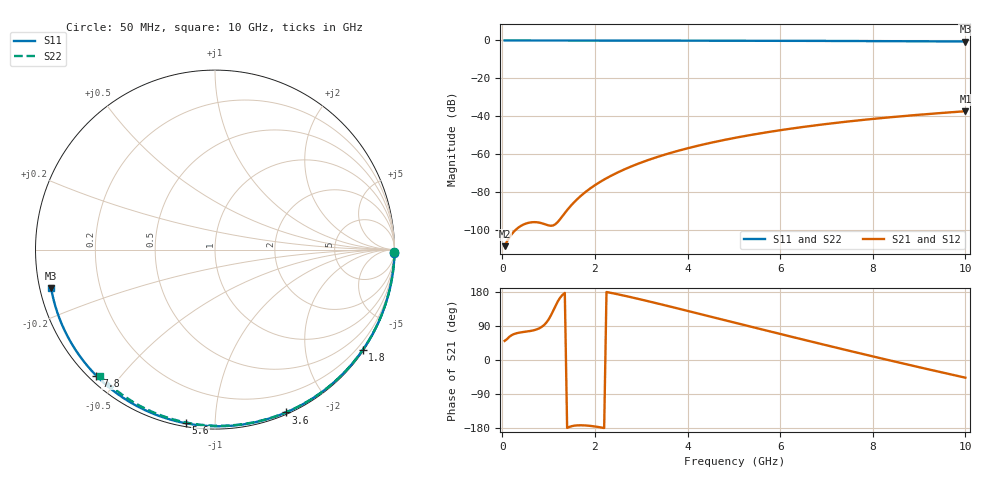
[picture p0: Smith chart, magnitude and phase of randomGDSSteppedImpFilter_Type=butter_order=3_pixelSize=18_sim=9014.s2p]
! freq	dB(S11)	phase(S11)	dB(S12)	phase(S12)
!  dB(S21)	phase(S21)	dB(S22)	phase(S22)
!S-par simulation data
#  GHz  S  DB  R 50
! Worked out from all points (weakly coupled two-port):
!   200 points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, 50 MHz to 10 GHz, reference 50 ohm
!   highest |S21| = -37.26 dB at 10 GHz (marker M1); lowest = -108.3 dB at 50 MHz (marker M2)
!   lowest |S11| = -0.6 dB at 10 GHz (marker M3), VSWR 31.23, Z = 1.62 - j5.76 ohm
!   |S11| at or under -10 dB: nowhere
!   |S22| runs from -0.4 to 0.0 dB; largest |S21 - S12| = 0
!   S11 on the Smith chart (normalised r, x): 50 MHz: open; 1.8 GHz: 0.03, -3.25; 3.6 GHz: 0.02, -1.53; 5.6 GHz: 0.02, -0.85; 7.8 GHz: 0.02, -0.43; 10 GHz: 0.03, -0.12
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0.05  -0.00 -1.0  -108.31 50.4  -108.31 50.4  -0.00 -0.8
0.45  -0.01 -8.7  -97.01 73.8  -97.01 73.8  -0.01 -6.9
0.85  -0.02 -16.3  -96.21 87.2  -96.21 87.2  -0.02 -12.9
1.3  -0.03 -24.8  -92.45 171.8  -92.45 171.8  -0.02 -19.7
1.75  -0.04 -33.2  -80.70 -172.4  -80.70 -172.4  -0.03 -26.4
1.8  -0.04 -34.2  -79.72 -172.7  -79.72 -172.7  -0.03 -27.1
2.1  -0.05 -39.7  -74.66 -177.3  -74.66 -177.3  -0.04 -31.6
2.3  -0.06 -43.4  -71.87 178.3  -71.87 178.3  -0.04 -34.5
2.5  -0.06 -47.0  -69.41 173.3  -69.41 173.3  -0.05 -37.4
2.9  -0.07 -54.2  -65.21 162.4  -65.21 162.4  -0.06 -43.2
3.4  -0.08 -63.0  -60.94 147.7  -60.94 147.7  -0.07 -50.2
3.6  -0.09 -66.4  -59.45 141.8  -59.45 141.8  -0.07 -53.0
4.3  -0.11 -78.3  -54.99 120.5  -54.99 120.5  -0.09 -62.7
5.05  -0.14 -90.6  -51.16 97.6  -51.16 97.6  -0.11 -72.7
5.6  -0.16 -99.4  -48.79 80.9  -48.79 80.9  -0.13 -79.9
6.15  -0.19 -108.0  -46.72 64.2  -46.72 64.2  -0.15 -86.9
6.7  -0.23 -116.5  -44.89 47.7  -44.89 47.7  -0.18 -93.7
7.25  -0.27 -124.9  -43.26 31.4  -43.26 31.4  -0.21 -100.4
7.8  -0.31 -133.2  -41.81 15.3  -41.81 15.3  -0.25 -107.0
8.35  -0.36 -141.5  -40.50 -0.6  -40.50 -0.6  -0.29 -113.4
9.2  -0.45 -154.4  -38.73 -24.6  -38.73 -24.6  -0.36 -123.3
10  -0.56 -166.9  -37.26 -46.7  -37.26 -46.7  -0.45 -132.4
